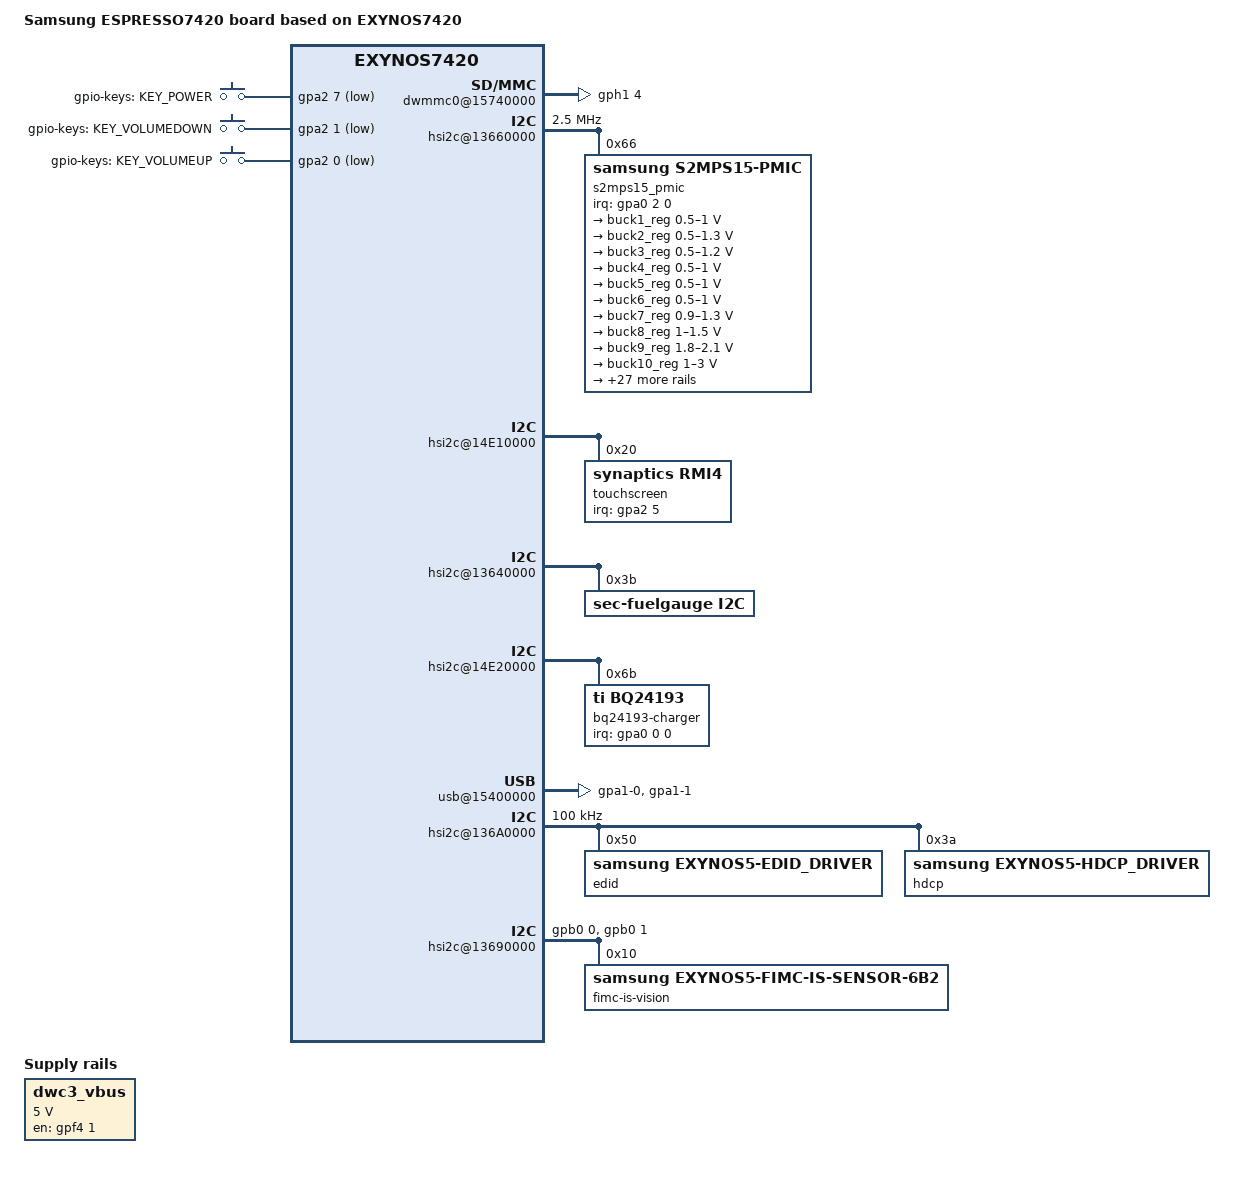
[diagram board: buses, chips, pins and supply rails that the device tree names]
/*
 * SAMSUNG XYREF7420 board device tree source
 *
 * Copyright (c) 2013 Samsung Electronics Co., Ltd.
 *		http://www.samsung.com
 *
 * This program is free software; you can redistribute it and/or modify
 * it under the terms of the GNU General Public License version 2 as
 * published by the Free Software Foundation.
*/

/dts-v1/;
#include "exynos7420.dtsi"

/ {
	model = "Samsung ESPRESSO7420 board based on EXYNOS7420";
	compatible = "samsung,ESPRESSO7420", "samsung,exynos7420";

	aliases {
		spi0 = &spi_0;
		spi1 = &spi_1;
		spi2 = &spi_2;
		spi3 = &spi_3;
		spi4 = &spi_4;
	};

	chosen {
		bootargs = "console=ttySAC2,115200 vmalloc=512M noexec=on ess_setup=0x46000000";
	};

	fixed-rate-clocks {
		oscclk {
			compatible = "samsung,exynos7420-oscclk";
			clock-frequency = <24000000>;
		};
	};

	dwmmc0@15740000 {
		status = "okay";
		num-slots = <1>;
		broken-cd;
		bypass-smu;
		fixed_volt;
		clock-gate;
		enable-cclk-on-suspend;
		only_once_tune;
		extra_tuning;
		supports-highspeed;
		enable-cache-control;
		qos_int_level = <200000>;
		fifo-depth = <0x80>;
		card-detect-delay = <200>;
		samsung,dw-mshc-ciu-div = <3>;
		samsung,dw-mshc-sdr-timing = <3 0 2 0>;
		samsung,dw-mshc-ddr-timing = <3 0 2 2 >;
		samsung,dw-mshc-hs200-timing = <3 0 3 0>;
		samsung,dw-mshc-ddr200-timing = <1 0 6 0>;
		samsung,dw-mshc-ddr200-delay-line = <100>;
		clk_pin = "gpr0-0";
		clk_addr = "15690000.pinctrl";
		clk_val = <0x3>;
		clk_str_num = <6>;
		num-ref-clks = <8>;
		ciu_clkin = <25 50 50 100 200 100 200 400>;
		pinctrl-names = "default";
		pinctrl-0 = <&sd0_clk &sd0_cmd &sd0_rdqs &sd0_bus1 &sd0_bus4 &sd0_bus8>;
		gpios = <&gph1 4 0>;

		slot@0 {
			reg = <0>;
			bus-width = <8>;
		};
	};

	gpio_keys {
		compatible = "gpio-keys";
		#address-cells = <1>;
		#size-cells = <0>;
		pinctrl-names = "default";
		pinctrl-0 = <&gpa2_pull_up>;
		button@1 {
			label = "gpio-keys: KEY_POWER";
			interrupts = <7 0 0>;
			interrupt-parent = <&gpa2>;
			linux,code = <116>;
			gpios = <&gpa2 7 0xf>;
			gpio-key,wakeup = <1>;
		};
		button@2 {
			label = "gpio-keys: KEY_VOLUMEDOWN";
			interrupts = <1 0 0>;
			interrupt-parent = <&gpa2>;
			linux,code = <114>;
			gpios = <&gpa2 1 0xf>;
		};
		button@3 {
			label = "gpio-keys: KEY_VOLUMEUP";
			interrupts = <0 0 0>;
			interrupt-parent = <&gpa2>;
			linux,code = <115>;
			gpios = <&gpa2 0 0xf>;
		};
	};

	hsi2c@13660000 {
		status = "okay";
		samsung,hs-mode;
		clock-frequency = <2500000>;

		s2mps15_pmic@66 {
			compatible = "samsung,s2mps15-pmic";
			reg = <0x66>;
			interrupts = <2 0 0>;
			interrupt-parent = <&gpa0>;
			pinctrl-names = "default";
			pinctrl-0 = <&pmic_irq &pm_wrsti>;
			/* RTC: wtsr/smpl */
			wtsr_en = <1>; /* enable */
			smpl_en = <1>; /* enable */
			wtsr_timer_val = <3>;	/* 1000ms */
			smpl_timer_val = <4>;	/* 500ms */
			check_jigon = <0>; /* do not check jigon */
			/* RTC: If it's first boot, reset rtc to 1/1/2014 12:00:00(Wed) */
			init_time,sec = <0>;
			init_time,min = <0>;
			init_time,hour = <12>;
			init_time,mday = <1>;
			init_time,mon = <0>;
			init_time,year = <114>;
			init_time,wday = <3>;

			regulators {
				buck1_reg: BUCK1 {
					regulator-name = "vdd_mif";
					regulator-min-microvolt = <500000>;
					regulator-max-microvolt = <1000000>;
					regulator-always-on;
					regulator-ramp-delay = <12000>;
					regulator-initial-mode = <1>;
				};

				buck2_reg: BUCK2 {
					regulator-name = "vdd_atlas";
					regulator-min-microvolt = <500000>;
					regulator-max-microvolt = <1300000>;
					regulator-always-on;
					regulator-ramp-delay = <12000>;
					regulator-initial-mode = <1>;
				};

				buck3_reg: BUCK3 {
					regulator-name = "vdd_apollo";
					regulator-min-microvolt = <500000>;
					regulator-max-microvolt = <1200000>;
					regulator-always-on;
					regulator-ramp-delay = <12000>;
					regulator-initial-mode = <1>;
				};

				buck4_reg: BUCK4 {
					regulator-name = "vdd_int";
					regulator-min-microvolt = <500000>;
					regulator-max-microvolt = <1000000>;
					regulator-always-on;
					regulator-ramp-delay = <12000>;
					regulator-initial-mode = <1>;
				};

				buck5_reg: BUCK5 {
					regulator-name = "vdd_disp_cam0";
					regulator-min-microvolt = <500000>;
					regulator-max-microvolt = <1000000>;
					regulator-always-on;
					regulator-ramp-delay = <12000>;
					regulator-initial-mode = <1>;
				};

				buck6_reg: BUCK6 {
					regulator-name = "vdd_g3d";
					regulator-min-microvolt = <500000>;
					regulator-max-microvolt = <1000000>;
					regulator-always-on;
					regulator-ramp-delay = <12000>;
					regulator-initial-mode = <1>;
				};

				buck7_reg: BUCK7 {
					regulator-name = "vdd_mem";
					regulator-min-microvolt = <900000>;
					regulator-max-microvolt = <1300000>;
					regulator-always-on;
					regulator-ramp-delay = <12000>;
					regulator-initial-mode = <3>;
				};

				buck8_reg: BUCK8 {
					regulator-name = "vdd_lldo";
					regulator-min-microvolt = <1000000>;
					regulator-max-microvolt = <1500000>;
					regulator-always-on;
					regulator-ramp-delay = <12000>;
					regulator-initial-mode = <3>;
				};

				buck9_reg: BUCK9 {
					regulator-name = "vdd_mldo";
					regulator-min-microvolt = <1800000>;
					regulator-max-microvolt = <2100000>;
					regulator-always-on;
					regulator-ramp-delay = <12000>;
					regulator-initial-mode = <3>;
				};

				buck10_reg: BUCK10 {
					regulator-name = "vdd_lldo2";
					regulator-min-microvolt = <1000000>;
					regulator-max-microvolt = <3000000>;
					regulator-always-on;
					regulator-ramp-delay = <12000>;
					regulator-initial-mode = <1>;
				};

				ldo1_reg: LDO1 {
					regulator-name = "vdd_ldo1";
					regulator-min-microvolt = <500000>;
					regulator-max-microvolt = <900000>;
					regulator-ramp-delay = <12000>;
					regulator-initial-mode = <3>;
					regulator-always-on;
				};

				ldo2_reg: LDO2 {
					regulator-name = "vdd_ldo2";
					regulator-min-microvolt = <1620000>;
					regulator-max-microvolt = <3300000>;
					regulator-ramp-delay = <12000>;
					regulator-initial-mode = <1>;
					regulator-always-on;
				};

				ldo3_reg: LDO3 {
					regulator-name = "vdd_ldo3";
					regulator-min-microvolt = <1620000>;
					regulator-max-microvolt = <1980000>;
					regulator-ramp-delay = <12000>;
					regulator-initial-mode = <3>;
					regulator-always-on;
				};

				ldo4_reg: LDO4 {
					regulator-name = "vdd_ldo4";
					regulator-min-microvolt = <800000>;
					regulator-max-microvolt = <1110000>;
					regulator-ramp-delay = <12000>;
					regulator-initial-mode = <1>;
					regulator-always-on;
				};

				ldo5_reg: LDO5 {
					regulator-name = "vdd_ldo5";
					regulator-min-microvolt = <1620000>;
					regulator-max-microvolt = <1980000>;
					regulator-always-on;
					regulator-initial-mode = <1>;
				};

				ldo6_reg: LDO6 {
					regulator-name = "vdd_ldo6";
					regulator-min-microvolt = <2250000>;
					regulator-max-microvolt = <3300000>;
					regulator-always-on;
					regulator-initial-mode = <1>;
				};

				ldo7_reg: LDO7 {
					regulator-name = "vdd_ldo7";
					regulator-min-microvolt = <700000>;
					regulator-max-microvolt = <1150000>;
					regulator-always-on;
					regulator-initial-mode = <1>;
				};

				ldo8_reg: LDO8 {
					regulator-name = "vdd_ldo8";
					regulator-min-microvolt = <700000>;
					regulator-max-microvolt = <1000000>;
					regulator-always-on;
					regulator-initial-mode = <1>;
				};

				ldo9_reg: LDO9 {
					regulator-name = "vdd_ldo9";
					regulator-min-microvolt = <700000>;
					regulator-max-microvolt = <1000000>;
					regulator-always-on;
					regulator-initial-mode = <1>;
				};

				ldo10_reg: LDO10 {
					regulator-name = "vdd_ldo10";
					regulator-min-microvolt = <700000>;
					regulator-max-microvolt = <1000000>;
					regulator-always-on;
					regulator-initial-mode = <1>;
				};

				ldo11_reg: LDO11 {
					regulator-name = "vdd_ldo11";
					regulator-min-microvolt = <1000000>;
					regulator-max-microvolt = <1300000>;
					regulator-always-on;
					regulator-initial-mode = <1>;
				};

				ldo12_reg: LDO12 {
					regulator-name = "vdd_ldo12";
					regulator-min-microvolt = <1000000>;
					regulator-max-microvolt = <1300000>;
					regulator-always-on;
					regulator-initial-mode = <1>;
				};

				ldo13_reg: LDO13 {
					regulator-name = "vdd_ldo13";
					regulator-min-microvolt = <1000000>;
					regulator-max-microvolt = <1300000>;
					regulator-always-on;
					regulator-initial-mode = <1>;
				};

				ldo14_reg: LDO14 {
					regulator-name = "vdd_ldo14";
					regulator-min-microvolt = <1800000>;
					regulator-max-microvolt = <3375000>;
					regulator-always-on;
					regulator-boot-on;
					regulator-initial-mode = <1>;
				};

				ldo15_reg: LDO15 {
					regulator-name = "vdd_ldo15";
					regulator-min-microvolt = <1500000>;
					regulator-max-microvolt = <2275000>;
					regulator-always-on;
					regulator-boot-on;
					regulator-initial-mode = <3>;
				};

				ldo16_reg: LDO16 {
					regulator-name = "vdd_ldo16";
					regulator-min-microvolt = <1500000>;
					regulator-max-microvolt = <2275000>;
					regulator-always-on;
					regulator-boot-on;
					regulator-initial-mode = <1>;
				};

				ldo17_reg: LDO17 {
					regulator-name = "vdd_ldo17";
					regulator-min-microvolt = <1800000>;
					regulator-max-microvolt = <3375000>;
					regulator-always-on;
					regulator-boot-on;
					regulator-initial-mode = <1>;
				};

				ldo18_reg: LDO18 {
					regulator-name = "vdd_ldo18";
					regulator-min-microvolt = <1500000>;
					regulator-max-microvolt = <2275000>;
					regulator-always-on;
					regulator-boot-on;
					regulator-initial-mode = <1>;
				};

				ldo19_reg: LDO19 {
					regulator-name = "vdd_ldo19";
					regulator-min-microvolt = <1800000>;
					regulator-max-microvolt = <3375000>;
					regulator-boot-on;
					regulator-always-on;
					regulator-initial-mode = <1>;
				};

				ldo20_reg: LDO20 {
					regulator-name = "vdd_ldo20";
					regulator-min-microvolt = <1500000>;
					regulator-max-microvolt = <2275000>;
					regulator-always-on;
					regulator-boot-on;
					regulator-initial-mode = <1>;
				};

				ldo21_reg: LDO21 {
					regulator-name = "tsp_avdd";
					regulator-min-microvolt = <1800000>;
					regulator-max-microvolt = <3375000>;
					regulator-boot-on;
					regulator-always-on;
					regulator-initial-mode = <1>;
				};

				ldo22_reg: LDO22 {
					regulator-name = "CAM_SEN_CORE_1.2V_AP";
					regulator-min-microvolt = <1200000>;
					regulator-max-microvolt = <1200000>;
					regulator-boot-on;
					regulator-always-on;
					regulator-initial-mode = <1>;
				};

				ldo23_reg: LDO23 {
					regulator-name = "tsp_io";
					regulator-min-microvolt = <1500000>;
					regulator-max-microvolt = <2275000>;
					regulator-boot-on;
					regulator-always-on;
					regulator-initial-mode = <1>;
				};

				ldo24_reg: LDO24 {
					regulator-name = "vdd_ldo24";
					regulator-min-microvolt = <1800000>;
					regulator-max-microvolt = <3375000>;
					regulator-boot-on;
					regulator-always-on;
					regulator-initial-mode = <1>;
				};

				ldo25_reg: LDO25 {
					regulator-name = "vdd_ldo25";
					regulator-min-microvolt = <1800000>;
					regulator-max-microvolt = <3375000>;
					regulator-boot-on;
					regulator-always-on;
					regulator-initial-mode = <1>;
				};

				ldo26_reg: LDO26 {
					regulator-name = "vdd_ldo26";
					regulator-min-microvolt = <700000>;
					regulator-max-microvolt = <1470000>;
					regulator-boot-on;
					regulator-always-on;
					regulator-initial-mode = <1>;
				};

				ldo27_reg: LDO27 {
					regulator-name = "vdd_ldo27";
					regulator-min-microvolt = <1500000>;
					regulator-max-microvolt = <2275000>;
					regulator-boot-on;
					regulator-always-on;
					regulator-initial-mode = <1>;
				};
			};
		};
	};

	ion {
		compatible = "samsung,exynos5430-ion";

		contig-names = "common",
			       "mfc_sh",
			       "g2d_wfd",
			       "video",
			       "sectbl",
			       "mfc_fw",
			       "mfc_nfw",
			       "secdma";

		contig = <0 0x400000 0x0>,
		         <2 0x100000 0x0>,
		         <10 0x800000 0x0>,
		         <11 0xC800000 0x0>,
		         <9 0x100000 0x0>,
		         <8 0x200000 0x0>,
		         <12 0x200000 0x0>,
		         <13 0x20000 0x0>;

		contig-isolate_on_boot = <0>, <2>, <8>,
					  <9>, <10>, <11>, <12>, <13>;

		ion_noncontig_heap {
			id-type = <0 0>;
		};

		exynos_contig_heap {
			id-type = <4 6>;
		};
	};

	pinctrl@14870000 {
		/* Warm reset information from AP */
		pm_wrsti: pm-wrsti {
			samsung,pins = "gpf0-2";
			samsung,pin-con-pdn = <3>;
		};
	};

	pinctrl@10580000 {
		gpa2_pull_up: gpa2_pull_up_for_gpio_key {
			samsung,pins = "gpa2-0", "gpa2-1", "gpa2-7";
			samsung,pin-function = <0xf>;
			samsung,pin-pud = <3>;
			samsung,pin-drv = <0>;
		};

		attn_irq: attn-irq {
			  samsung,pins = "gpa2-5";
			  samsung,pin-function = <0xf>;
			  samsung,pin-pud = <0>;
			  samsung,pin-drv = <0>;
		};

		attn_input: attn-input {
			  samsung,pins = "gpa2-5";
			  samsung,pin-function = <0>;
			  samsung,pin-pud = <1>;
			  samsung,pin-drv = <0>;
		};

		pmic_irq: pmic-irq {
			samsung,pins = "gpa0-2";
			samsung,pin-pud = <3>;
			samsung,pin-drv = <3>;
		};

		fuel_irq: fuel-irq {
			samsung,pins = "gpa3-4";
			samsung,pin-function = <0>;
			samsung,pin-pud = <0>;
			samsung,pin-drv = <0>;
		};

		chg_irq: chg-irq {
			samsung,pins = "gpa0-0";
			samsung,pin-function = <0>;
			samsung,pin-pud = <3>;
			samsung,pin-drv = <3>;
		};
	};

	hsi2c@14E10000 {
		status = "okay";
		touchscreen@20 {
			compatible = "synaptics,rmi4";
			reg = <0x20>;
			pinctrl-names = "on_state", "off_state";
			pinctrl-0 = <&attn_irq>;
			pinctrl-1 = <&attn_input>;
			synaptics,irq_gpio = <&gpa2 5 0>;
			synaptics,irq_type = <8200>;
			synaptics,max_coords = <1440 2560>;	/* x y */
			synaptics,num_lines = <29 16>;		/* rx tx */

			synaptics,regulator_dvdd = "tsp_io";
			synaptics,regulator_avdd = "tsp_avdd";
			synaptics,project_name = "";
		};

	};

	hsi2c@13640000 {
		status = "okay";
		sec-fuelgauge@3b {
			compatible = "sec-fuelgauge,i2c";
			reg = <0x3b>;
			pinctrl-names = "default";
			pinctrl-0 = <&fuel_irq>;
			fuelgauge,fuel_int = <&gpa3 4 0>;
			fuelgauge,fuel_alert_soc = <2>;
			fuelgauge,capacity_max = <990>;
			fuelgauge,capacity_max_margin = <30>;
			fuelgauge,capacity_min = <0>;
			fuelgauge,capacity_calculation_type = <12>;
			fuelgaguge,repeated_fuelalert;
			fuelgauge,type_str = "SDI";
		};
	};

	hsi2c@14E20000 {
		status = "okay";
		bq24193-charger@6b {
			compatible = "ti,bq24193";
			reg = <0x6b>;
			interrupts = <0 0 0>;
			interrupt-parent = <&gpa0>;
			pinctrl-names = "default";
			pinctrl-3 = <&chg_irq>;
			dev_name = "bq24193";
			battery,fuelgauge_name = "sec-fuelgauge";
		};
	};

	pinctrl@10580000 {
		dwc3_b_sess: dwc3-b-sess {
			samsung,pins = "gpa1-0";
			samsung,pin-function = <0xf>;
			samsung,pin-pud = <0>;
		};

		dwc3_id: dwc3-id {
			samsung,pins = "gpa1-1";
			samsung,pin-function = <0xf>;
			samsung,pin-pud = <0>;
		};
	};

	dwc3_vbus: fixedregulator@0 {
		compatible = "regulator-fixed";
		regulator-name = "VUSB_VBUS_5V";
		regulator-min-microvolt = <5000000>;
		regulator-max-microvolt = <5000000>;
		gpio = <&gpf4 1 1>;
		enable-active-high;
	};

	usb@15400000 {
		dwc3-vbus-supply = <&dwc3_vbus>;
		samsung,bsess-gpio = <&gpa1 0 0xf>;
		samsung,id-gpio = <&gpa1 1 0xf>;
		pinctrl-names = "default";
		pinctrl-0 = <&dwc3_b_sess &dwc3_id>;
		status = "okay";

		dwc3 {
			maximum-speed = "super-speed";
			dr_mode = "otg";
		};
	};

	hsi2c@136A0000 {
		status = "okay";
		clock-frequency = <100000>;
		/* hdmi edid dirver */
		edid@50 {
			compatible = "samsung,exynos5-edid_driver";
			reg = <0x50>;
		};

		/* hdmi hdcp dirver */
		hdcp@3A {
			compatible = "samsung,exynos5-hdcp_driver";
			reg = <0x3A>;
		};
	};

	mipi_dsi@0x13900000 {
		/* lcd reset, power */
		gpios = <&gpf3 1 0x1>;
	};

	hdmi@13970000 {
		/* all bit clock supports: 1, not support: 0 */
		audio_master_clk = <1>;
		gpios = <&gpa3 0 0xf>, <&gpf4 5 0x1>, <&gpf4 6 0x1>;
	};

	hsi2c@13690000 {
		gpios = <&gpb0 0 0 &gpb0 1 0 >;
		status = "okay";
		samsung,i2c-sda-delay = <100>;
		samsung,i2c-max-bus-freq = <400000>;
		status = "okay";
		fimc-is-vision@20 {
			compatible = "samsung,exynos5-fimc-is-sensor-6b2";
			reg = <0x10>;
		};
	};

	fimc_is_sensor0: fimc_is_sensor@14020000 {
		scenario = <0>;
		gpio_reset = <&gpc0 1 0x1>;
		id = <0>;
		mclk_ch = <0>;
		csi_ch = <0>;
		flite_ch = <0>;
		i2c_ch = <0x0200>;
		i2c_addr = <0x5A5A>;
		flash_first_gpio = <2>;
		flash_second_gpio = <3>;
		is_bns = <1>;
		status = "okay";
	};

	fimc_is_sensor1: fimc_is_sensor@14030000 {
		scenario = <0>;
		gpio_reset = <&gpc0 4 0x1>;
		gpio_standby = <&gpc0 0 0x1>;
		id = <1>;
		mclk_ch = <2>;
		csi_ch = <1>;
		flite_ch = <1>;
		i2c_ch = <1>;
		i2c_addr = <0x20>;
		is_bns = <0>;
		status = "okay";
	};

	fimc_is@14200000 {
		fimc_is_dvfs {
			default_int = <590000>; /* L0 */
			default_cam = <590000>; /* L0 */
			default_mif = <828000>; /* L0 */
			default_i2c = <0>;

			front_preview_int = <590000>; /* L1 */
			front_preview_cam = <590000>; /* L7 */
			front_preview_mif = <828000>; /* L0 */
			front_preview_i2c = <0>;

			front_capture_int = <590000>; /* L1 */
			front_capture_cam = <590000>; /* L7 */
			front_capture_mif = <828000>; /* L0 */
			front_capture_i2c = <0>;

			front_camcording_int = <590000>; /* L1 */
			front_camcording_cam = <590000>; /* L7 */
			front_camcording_mif = <828000>; /* L0 */
			front_camcording_i2c = <0>;

			front_vt1_int = <590000>; /* L1 */
			front_vt1_cam = <590000>; /* L7 */
			front_vt1_mif = <828000>; /* L0 */
			front_vt1_i2c = <0>;

			front_vt2_int = <590000>; /* L1 */
			front_vt2_cam = <590000>; /* L7 */
			front_vt2_mif = <828000>; /* L0 */
			front_vt2_i2c = <0>;

			rear_preview_fhd_int = <590000>; /* L1 */
			rear_preview_fhd_cam = <590000>; /* L6 */
			rear_preview_fhd_mif = <828000>; /* L1 */
			rear_preview_fhd_i2c = <0>;

			rear_preview_whd_int = <590000>; /* L1 */
			rear_preview_whd_cam = <590000>; /* L6 */
			rear_preview_whd_mif = <828000>; /* L0 */
			rear_preview_whd_i2c = <0>;

			rear_preview_uhd_int = <590000>; /* L0_A */
			rear_preview_uhd_cam = <590000>; /* L2 */
			rear_preview_uhd_mif = <828000>; /* L0 */
			rear_preview_uhd_i2c = <0>;

			rear_capture_int = <590000>; /* L0 */
			rear_capture_cam = <590000>; /* L1 */
			rear_capture_mif = <828000>; /* L0 */
			rear_capture_i2c = <0>;

			rear_camcording_fhd_int = <590000>; /* L1 */
			rear_camcording_fhd_cam = <590000>; /* L4 */
			rear_camcording_fhd_mif = <828000>; /* L1 */
			rear_camcording_fhd_i2c = <0>;

			rear_camcording_uhd_int = <590000>; /* L0_A */
			rear_camcording_uhd_cam = <590000>; /* L2 */
			rear_camcording_uhd_mif = <828000>; /* L0 */
			rear_camcording_uhd_i2c = <0>;

			dual_preview_int = <590000>; /* L1 */
			dual_preview_cam = <590000>; /* L5 */
			dual_preview_mif = <828000>; /* L0 */
			dual_preview_i2c = <0>;

			dual_capture_int = <590000>; /* L0 */
			dual_capture_cam = <590000>; /* L0 */
			dual_capture_mif = <828000>; /* L0 */
			dual_capture_i2c = <0>;

			dual_camcording_int = <590000>; /* L1 */
			dual_camcording_cam = <590000>; /* L3 */
			dual_camcording_mif = <828000>; /* L0 */
			dual_camcording_i2c = <0>;

			high_speed_fps_int = <590000>; /* L0 */
			high_speed_fps_cam = <590000>; /* L1 */
			high_speed_fps_mif = <828000>; /* L0 */
			high_speed_fps_i2c = <0>;

			dis_enable_int = <590000>; /* L0 */
			dis_enable_cam = <590000>; /* L0 */
			dis_enable_mif = <828000>; /* L0 */
			dis_enable_i2c = <0>;

			max_int = <590000>; /* L0 */
			max_cam = <590000>; /* L0 */
			max_mif = <828000>; /* L0 */
			max_i2c = <0>;
		};
	};
};
